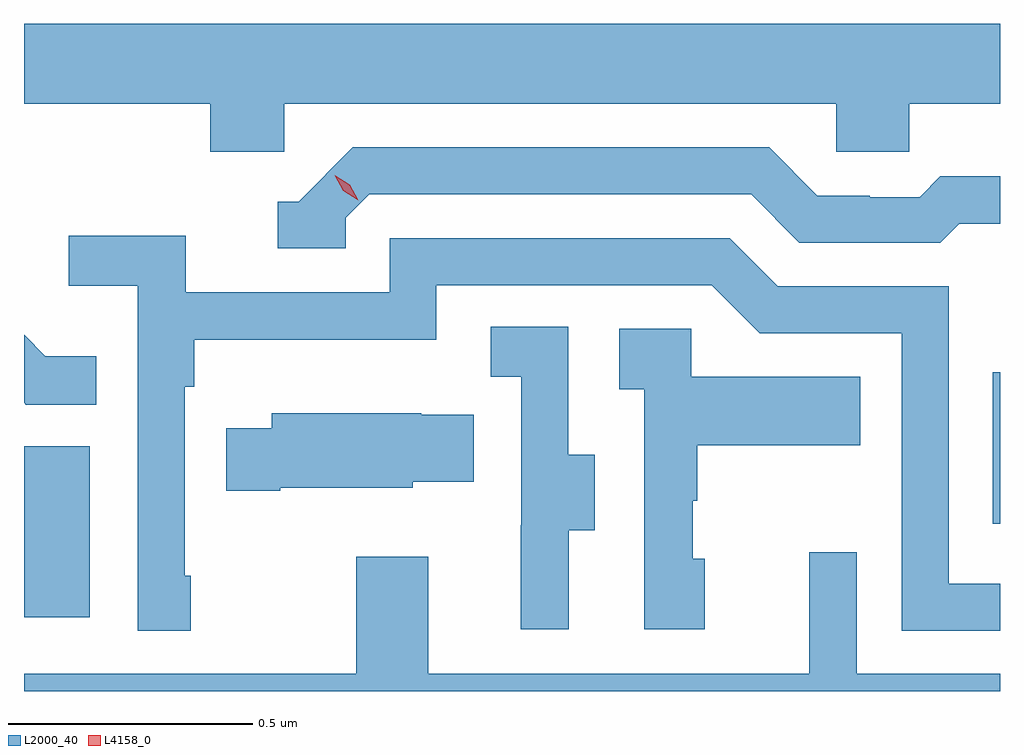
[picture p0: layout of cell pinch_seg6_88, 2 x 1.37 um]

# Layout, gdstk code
import gdstk
lib = gdstk.Library(unit=1e-6, precision=1e-09)
def R(c, l, rs):  # rectangles x0, y0, x1, y1
    for r in rs: c.add(gdstk.rectangle(r[:2], r[2:], *l))
def P(c, l, *ps):  # polygons
    for p in ps: c.add(gdstk.Polygon(p, *l))
L2000_40 = (2000, 40)
L4158_0 = (4158, 0)

pinch_seg6_88 = lib.new_cell('pinch_seg6_88')
R(pinch_seg6_88, L2000_40, [(936.151,931.632,936.286,931.983), (938.136,931.824,938.151,932.134)])
P(pinch_seg6_88, L2000_40, [(936.684,932.684),(937.815,932.684),(937.815,932.586),(937.965,932.586),(937.965,932.684),(938.151,932.684),(938.151,932.848),(936.151,932.848),(936.151,932.684),(936.533,932.684),(936.533,932.586),(936.684,932.586)],
  [(936.81,932.451),(936.858,932.499),(937.641,932.499),(937.74,932.4),(938.029,932.4),(938.068,932.439),(938.151,932.439),(938.151,932.536),(938.029,932.536),(937.987,932.493),(937.884,932.493),(937.884,932.496),(937.777,932.496),(937.678,932.595),(936.825,932.595),(936.714,932.484),(936.671,932.484),(936.671,932.388),(936.81,932.388)],
  [(936.493,931.717),(936.48,931.717),(936.48,932.105),(936.5,932.105),(936.5,932.201),(936.996,932.201),(936.996,932.313),(937.56,932.313),(937.659,932.214),(937.95,932.214),(937.95,931.605),(938.151,931.605),(938.151,931.701),(938.046,931.701),(938.046,932.31),(937.696,932.31),(937.597,932.409),(936.9,932.409),(936.9,932.298),(936.482,932.298),(936.482,932.414),(936.243,932.414),(936.243,932.312),(936.384,932.312),(936.384,931.605),(936.493,931.605)],
  [(937.267,931.81),(937.321,931.81),(937.321,931.965),(937.266,931.965),(937.266,932.228),(937.107,932.228),(937.107,932.125),(937.17,932.125),(937.17,931.821),(937.169,931.821),(937.169,931.608),(937.267,931.608)],
  [(937.546,931.752),(937.521,931.752),(937.521,931.871),(937.531,931.871),(937.531,931.985),(937.865,931.985),(937.865,932.125),(937.518,932.125),(937.518,932.223),(937.371,932.223),(937.371,932.099),(937.422,932.099),(937.422,931.608),(937.546,931.608)],
  [(936.299,932.167),(936.195,932.167),(936.151,932.211),(936.151,932.072),(936.155,932.068),(936.299,932.068)],
  [(936.676,931.898),(936.948,931.898),(936.948,931.91),(937.073,931.91),(937.073,932.047),(936.965,932.047),(936.965,932.05),(936.659,932.05),(936.659,932.02),(936.565,932.02),(936.565,931.891),(936.676,931.891)],
  [(938.151,931.516),(937.857,931.516),(937.857,931.765),(937.76,931.765),(937.76,931.516),(936.979,931.516),(936.979,931.756),(936.832,931.756),(936.832,931.516),(936.151,931.516),(936.151,931.481),(938.151,931.481)])
P(pinch_seg6_88, L4158_0, [(936.836,932.487),(936.805,932.506),(936.788,932.538),(936.788,932.538),(936.788,932.538),(936.819,932.519),(936.836,932.487),(936.836,932.487)])

lib.write_gds('pinch_seg6_88.gds')
